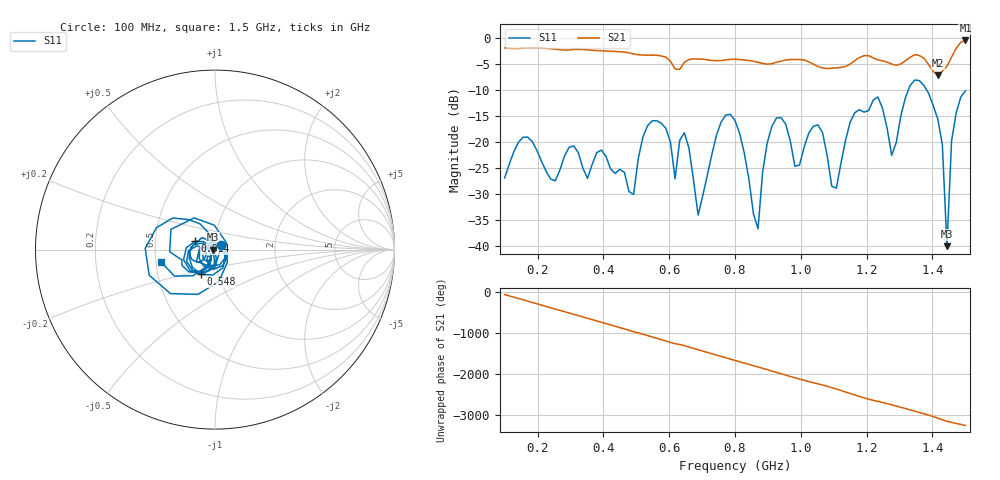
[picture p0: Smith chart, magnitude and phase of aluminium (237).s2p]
! NanoVNA-App
! Date: 2025-09-25 14:57:07
! Start: 100MHz Stop: 1,5GHz Points: 101
! S-Parameter data: F S11 S21 S12 S22
# Hz S RI R 50
!  Frequency  S11_Real  S11_Imag  S21_Real  S21_Imag  S12_Real  S12_Imag  S22_Real  S22_Imag
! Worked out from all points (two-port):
!   101 points, 100 MHz to 1.5 GHz, reference 50 ohm
!   highest |S21| = -0.48 dB at 1.5 GHz (marker M1); lowest = -7.2 dB at 1.416 GHz (marker M2)
!   |S21| within 3 dB of the highest: start of sweep to 577.1 MHz; 1.46 GHz to end of sweep (the widest 2 of 4)
!   lowest |S11| = -40.1 dB at 1.444 GHz (marker M3), VSWR 1.02, Z = 49 + j0.0485 ohm
!   |S11| at or under -10 dB: start of sweep to 1.327 GHz; 1.382 GHz to end of sweep
!   S12 and S22 are empty: the file has one direction only
!   S11 on the Smith chart (normalised r, x): 100 MHz: 1.07, +0.06; 548 MHz: 0.82, -0.23; 814 MHz: 0.80, +0.07; 1.5 GHz: 0.53, -0.08
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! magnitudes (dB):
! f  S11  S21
! 100 MHz  -27.0  -1.9
! 338 MHz  -25.1  -2.2
! 492 MHz  -30.1  -3.1
! 548 MHz  -16.0  -3.3
! 576 MHz  -16.4  -3.5
! 618 MHz  -27.1  -6.0
! 646 MHz  -18.3  -4.7
! 688 MHz  -34.1  -4.1
! 800 MHz  -15.9  -4.1
! 814 MHz  -18.4  -4.2
! 870 MHz  -36.7  -4.7
! 926 MHz  -15.4  -4.7
! 982 MHz  -24.7  -4.1
! 1.038 GHz  -17.0  -5.0
! 1.108 GHz  -28.9  -5.8
! 1.234 GHz  -11.4  -4.2
! 1.276 GHz  -22.6  -5.0
! 1.346 GHz  -8.1  -3.2
! 1.416 GHz  -15.6  -7.2
! 1.444 GHz  -40.1  -5.5
! 1.458 GHz  -19.8  -3.7
! 1.5 GHz  -10.2  -0.5
